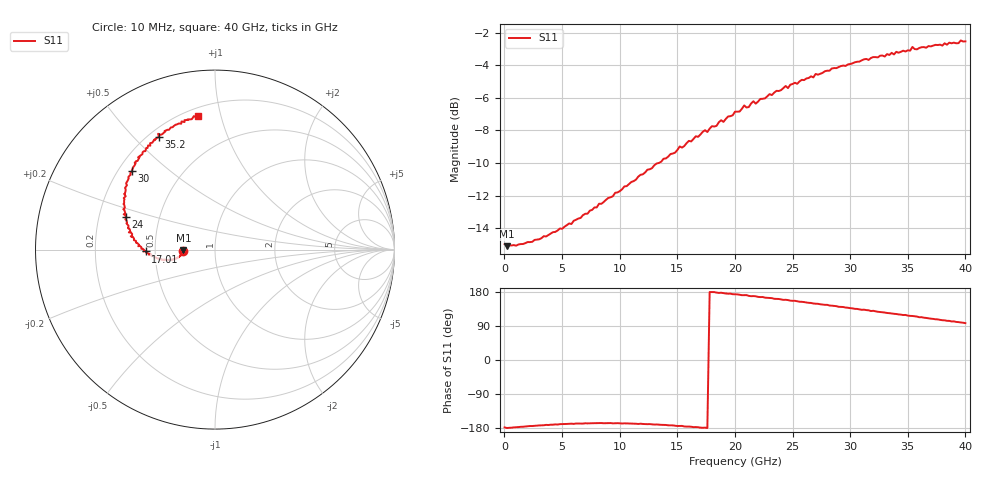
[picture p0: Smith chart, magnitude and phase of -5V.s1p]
!Agilent Technologies,N5227A,US51270434,A.10.00.00
!Agilent N5227A: A.10.00.00
!Date: Monday, January 26, 2026 17:35:26
!Correction: S11(Full 1 Port(1))
!S1P File: Measurement: S11:
# Hz S  dB  R 50
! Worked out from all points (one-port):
!   201 points, 10 MHz to 40 GHz, reference 50 ohm
!   lowest |S11| = -15.1 dB at 209.9 MHz (marker M1), VSWR 1.43, Z = 35.1 - j0.124 ohm
!   |S11| at or under -10 dB: start of sweep to 13.39 GHz
!   S11 on the Smith chart (normalised r, x): 10 MHz: 0.70, -0.01; 17.01 GHz: 0.44, -0.01; 24 GHz: 0.32, +0.16; 30 GHz: 0.25, +0.37; 35.2 GHz: 0.24, +0.59; 40 GHz: 0.25, +0.85
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1e7  -14.99 -177.9
2.0995e8  -15.11 -179.4
2.4094e9  -14.85 -174.2
5.00875e9  -14.04 -169.2
1.00075e10  -11.73 -167.0
1.260685e10  -10.38 -169.1
1.500625e10  -9.20 -174.2
1.700575e10  -8.25 -178.5
2.0005e10  -6.84 173.4
2.100475e10  -6.59 171.2
2.140465e10  -6.34 168.4
2.24044e10  -6.05 166.3
2.4004e10  -5.52 159.9
2.500375e10  -5.14 156.2
2.8003e10  -4.32 145.6
3.00025e10  -3.92 136.8
3.16021e10  -3.66 131.2
3.180205e10  -3.54 129.2
3.2002e10  -3.49 129.8
3.24019e10  -3.51 127.3
3.500125e10  -3.07 117.2
3.52012e10  -3.09 116.4
3.540115e10  -2.87 116.2
3.580105e10  -3.01 114.6
3.740065e10  -2.74 107.5
3.88003e10  -2.64 101.8
3.900025e10  -2.60 102.0
4e10  -2.52 97.2
